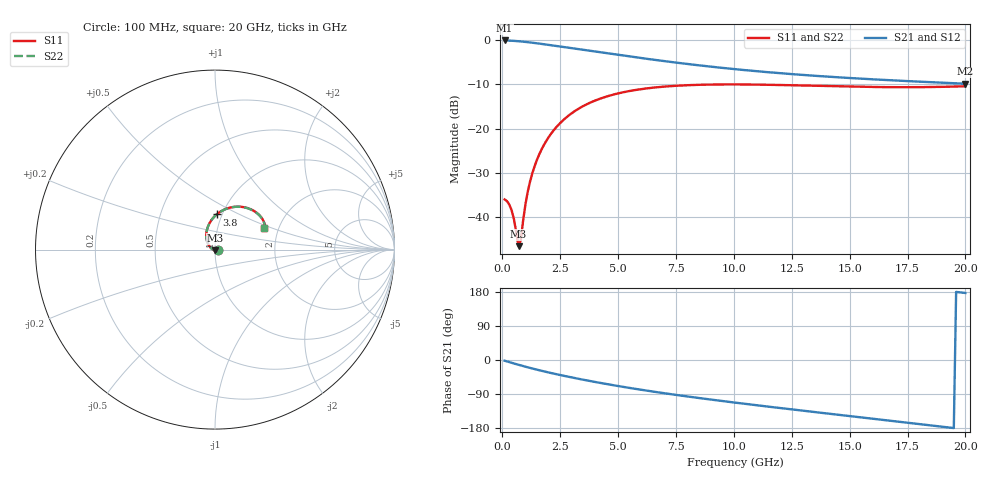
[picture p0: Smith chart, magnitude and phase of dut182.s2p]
! Touchstone file exported from HFSS 2023.1.0
!  File:  D:/Users/fzz/RDL_TSV/temp_RDL_TSV_182_1778755092.aedt
!  Generated:  6:47:43 %x4E0B%x5348  5%x6708 14, 2026
!  Design:  RDL_TSV
!  Project:  temp_RDL_TSV_182_1778755092
!  Setup:  Setup1
!  Solution:  Sweep
! Variables:
!  dtsv = 11.32um
!  hbump = 3um
!  htsv = 96.33um
!  ldown = 473.92um
!  lrdl = 200.77um
!  p = 40
!  p1 = 58.48um
!  rhole = 10um
!  subl = 2224.84um
!  t = 450um
!  tdown = 3.44um
!  trdl = 4.16um
!  viad = 10um
!  wdown = 10.96um
!  wrdl = 29.46um
!  xbump = 18um
# GHz S MA R 50.000000
! Terminal data exported
! Port[1] = TM1_1_T1
! Port[2] = TM1_4_T1
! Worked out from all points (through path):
!   200 points, 100 MHz to 20 GHz, reference 50 ohm
!   highest |S21| = -0.15 dB at 100 MHz (marker M1); lowest = -9.9 dB at 20 GHz (marker M2)
!   group delay of S21, straight-line fit = 23.5 ps
!   lowest |S11| = -46.5 dB at 700 MHz (marker M3), VSWR 1.01, Z = 50 - j0.473 ohm
!   |S11| at or under -10 dB: start of sweep to end of sweep
!   |S22| runs from -46.5 to -10.1 dB; largest |S21 - S12| = 4e-14
!   S11 on the Smith chart (normalised r, x): 100 MHz: 1.03, -0.00; 3.8 GHz: 0.94, +0.38; 20 GHz: 1.69, +0.44
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0.1  0.01592 -4.5  0.9833 -1.9  0.9833 -1.9  0.01592 -4.5
! Gamma 0 0 0 0
! Port Impedance 50 0 50 0
0.3  0.01396 -15.9  0.9795 -5.5  0.9795 -5.5  0.01397 -15.9
0.4  0.01206 -23.6  0.9765 -7.3  0.9765 -7.3  0.01207 -23.6
0.5  0.009617 -34.1  0.9729 -9.1  0.9729 -9.1  0.009627 -34.1
0.7  0.00473 -88.6  0.9641 -12.6  0.9641 -12.6  0.004739 -88.3
0.8  0.005516 -142.6  0.9589 -14.3  0.9589 -14.3  0.005506 -142.4
1  0.01402 173.2  0.9472 -17.7  0.9472 -17.7  0.01399 173.3
1.1  0.01946 164.3  0.9409 -19.3  0.9409 -19.3  0.01942 164.3
1.3  0.03151 152.3  0.9275 -22.5  0.9275 -22.5  0.03145 152.3
1.6  0.05146 139.7  0.9061 -27.1  0.9061 -27.1  0.05137 139.7
2  0.0798 126.7  0.8767 -32.9  0.8767 -32.9  0.07968 126.7
2.4  0.1084 115.8  0.8475 -38.3  0.8475 -38.3  0.1082 115.8
2.9  0.1425 104.3  0.8118 -44.8  0.8118 -44.8  0.1423 104.3
3.5  0.1795 92.5  0.7708 -52.1  0.7708 -52.1  0.1793 92.5
3.8  0.1961 87.4  0.7511 -55.6  0.7511 -55.6  0.1958 87.3
5.1  0.2524 68.9  0.6716 -69.7  0.6716 -69.7  0.2519 68.9
6.8  0.294 51.8  0.5842 -86.0  0.5842 -86.0  0.2934 51.8
8.4  0.3106 40.6  0.5191 -99.6  0.5191 -99.6  0.3101 40.6
10.1  0.3143 32.3  0.4655 -112.8  0.4655 -112.8  0.3137 32.2
13.4  0.3035 23.5  0.3949 -136.7  0.3949 -136.7  0.3028 23.5
16.7  0.2927 21.8  0.3508 -159.9  0.3508 -159.9  0.292 21.7
20  0.2996 23.4  0.3201 176.9  0.3201 176.9  0.2988 23.4
